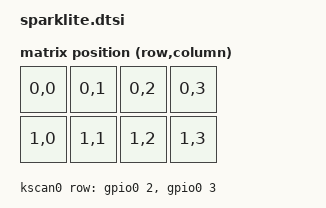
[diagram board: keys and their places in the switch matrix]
/*
 * Copyright (c) 2020 Pete Johanson
 *
 * SPDX-License-Identifier: MIT
 */

#include <dt-bindings/zmk/matrix_transform.h>

/ {
	chosen {
		zmk,kscan = &kscan0;
		zmk,matrix-transform = &default_transform;
		// zephyr,display = &oled;
		// zephyr,console = &cdc_acm_uart;
	};

	default_transform: keymap_transform_0 {
		compatible = "zmk,matrix-transform";
		columns = <4>;
		rows = <2>;
		map = <
			RC(0,0) RC(0,1) RC(0,2) RC(0,3)
			RC(1,0) RC(1,1) RC(1,2) RC(1,3)
		>;
	};

	kscan0: kscan {
		compatible = "zmk,kscan-gpio-matrix";
		label = "KSCAN";
		diode-direction = "col2row";
		wakeup-source;
		row-gpios
			= <&gpio0 2 (GPIO_ACTIVE_HIGH | GPIO_PULL_DOWN)>
			, <&gpio0 3 (GPIO_ACTIVE_HIGH | GPIO_PULL_DOWN)>
			;
	};
};
